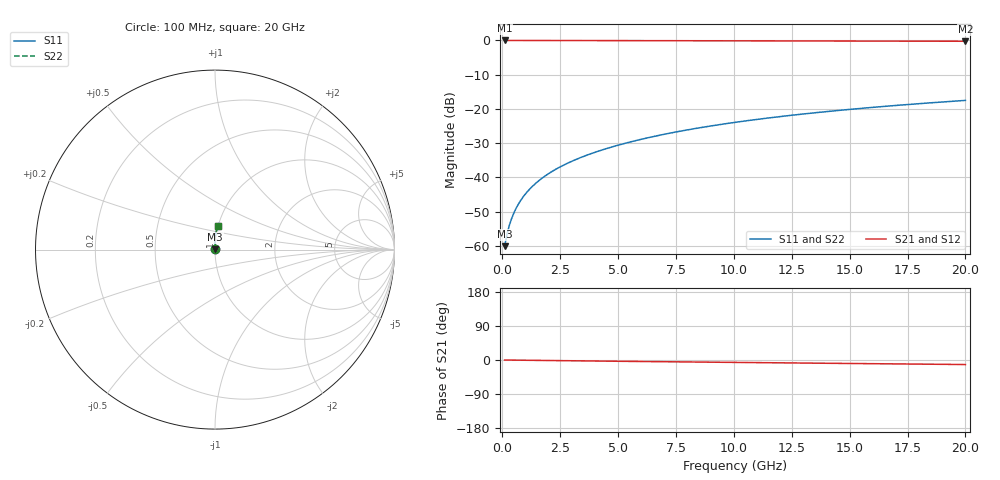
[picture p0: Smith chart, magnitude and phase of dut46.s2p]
! Touchstone file exported from HFSS 2024.1.0
!  File:  C:/UserFiles/LocalFiles/RDL_TSV_Batchsim/temp_RDL_top_46_1778681170.aedt
!  Generated:  10:08:10 PM May 13, 2026
!  Design:  RDL_top
!  Project:  temp_RDL_top_46_1778681170
!  Setup:  Setup1
!  Solution:  Sweep
! Variables:
!  dtsv = 10.80580581um
!  hbump = 3um
!  htsv = 59.34um
!  ldown = 100um
!  lrdl = 141.18um
!  p = 40
!  p1 = 50.11um
!  rhole = 1um
!  t = 450um
!  tdown = 3.915915916um
!  trdl = 3.74um
!  wdown = 15.38538539um
!  wrdl = 24.13um
# GHz S MA R 50.000000
! Terminal data exported
! Port[1] = Box2_T1
! Port[2] = Box2_T2
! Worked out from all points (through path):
!   200 points, 100 MHz to 20 GHz, reference 50 ohm
!   highest |S21| = -0.01 dB at 100 MHz (marker M1); lowest = -0.2 dB at 20 GHz (marker M2)
!   group delay of S21, straight-line fit = 1.64 ps
!   lowest |S11| = -60.1 dB at 100 MHz (marker M3), VSWR 1.00, Z = 50.1 + j0.062 ohm
!   |S11| at or under -10 dB: start of sweep to end of sweep
!   |S22| runs from -60.1 to -17.5 dB; largest |S21 - S12| = 4.1e-15
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0.1  0.0009908 38.6  0.9992 -0.1  0.9992 -0.1  0.0009908 38.6
! Gamma 0 0 0 0
! Port Impedance 50 0 50 0
0.2  0.001459 56.2  0.9992 -0.1  0.9992 -0.1  0.001459 56.2
0.3  0.001974 64.6  0.9991 -0.2  0.9991 -0.2  0.001974 64.6
0.4  0.002498 69.6  0.9991 -0.3  0.9991 -0.3  0.002498 69.6
0.5  0.003026 73.1  0.999 -0.4  0.999 -0.4  0.003026 73.1
0.6  0.00356 75.6  0.999 -0.4  0.999 -0.4  0.00356 75.6
0.8  0.004641 79.1  0.9989 -0.6  0.9989 -0.6  0.004641 79.1
1.1  0.006289 82.3  0.9988 -0.8  0.9988 -0.8  0.006289 82.3
1.5  0.008522 84.8  0.9985 -1.0  0.9985 -1.0  0.008522 84.8
1.8  0.01022 86.1  0.9983 -1.2  0.9983 -1.2  0.01022 86.1
2.1  0.01194 87.1  0.998 -1.4  0.998 -1.4  0.01194 87.1
2.7  0.01543 88.5  0.9974 -1.9  0.9974 -1.9  0.01543 88.5
3.5  0.0202 89.7  0.9965 -2.4  0.9965 -2.4  0.0202 89.7
4.2  0.0245 90.4  0.9955 -2.8  0.9955 -2.8  0.0245 90.4
5  0.02954 90.8  0.9943 -3.4  0.9943 -3.4  0.02954 90.8
5.9  0.03537 91.0  0.9929 -3.9  0.9929 -3.9  0.03537 91.0
6.8  0.04133 91.0  0.9915 -4.5  0.9915 -4.5  0.04133 91.0
8.4  0.05221 90.5  0.9889 -5.4  0.9889 -5.4  0.05221 90.5
10.1  0.064 89.7  0.9864 -6.4  0.9864 -6.4  0.064 89.7
13.4  0.08718 87.5  0.9816 -8.3  0.9816 -8.3  0.08718 87.5
16.7  0.1103 85.2  0.9772 -10.1  0.9772 -10.1  0.1103 85.2
20  0.1332 82.9  0.9727 -12.0  0.9727 -12.0  0.1332 82.9
